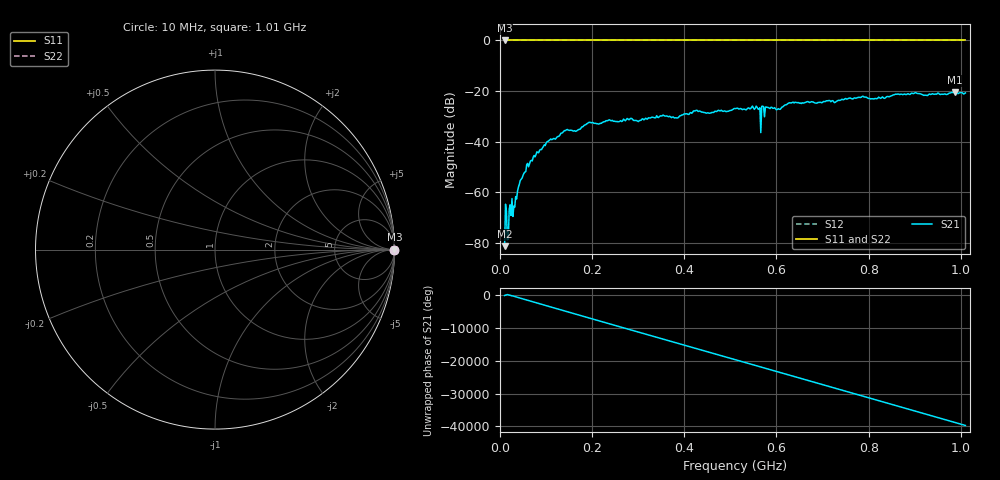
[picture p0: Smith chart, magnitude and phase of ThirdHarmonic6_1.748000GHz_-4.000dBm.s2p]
! 8/16/2025 9:04:45 PM
! C:\ANRITSUVNA\TEMP\TEMP.S2P
! CHANNEL.1
! TR.MEASUREMENT
! RAW.DATA
! RF.CORRECTION.OFF
! AVERAGING.OFF
! IF.BANDWIDTH: 5KHZ
! SWEEPTYPE:  FREQ.SWEEP(Linear)
! Reference Plane Port Info
! PORT:  PORT1  PORT2
! DISTANCE:  0  m  0  m
! TIME:  0  s  0  s
! PHASE.OFFSET:  0  deg.  0  deg.
! LOSS:  0  dB  0  dB
! REF.LOSS:  0  dB  0  dB
! REF.FREQ:  0  Hz  0  Hz
! Power Info
! POWER:  -20  dBm  -20  dBm
! EFF.POWER:  -20  dBm  -20  dBm
! SOURCE.ATTEN:  0  dB  0  dB
! TEST.ATTEN:  0  dB  0  dB
# GHZ S RI R 50.0
! FREQ.GHZ  S11RE  S11IM  S21RE  S21IM  S12RE  S12IM  S22RE  S22IM
!; PortSelection: Port_12
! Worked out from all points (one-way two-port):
!   501 points, 10 MHz to 1.01 GHz, reference 50 ohm
!   highest |S21| = -20.54 dB at 988 MHz (marker M1); lowest = -81.3 dB at 10 MHz (marker M2)
!   lowest |S11| = 0.0 dB at 10 MHz (marker M3)
!   |S11| at or under -10 dB: nowhere
!   |S22| runs from 0.0 to 0.0 dB; largest |S21 - S12| = 1.1
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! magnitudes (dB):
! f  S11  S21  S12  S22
! 10 MHz  0.0  -81.3  0.0  0.0
! 14 MHz  0.0  -67.6  0.0  0.0
! 16 MHz  0.0  -78.9  0.0  0.0
! 20 MHz  0.0  -66.7  0.0  0.0
! 24 MHz  0.0  -69.2  0.0  0.0
! 32 MHz  0.0  -65.9  0.0  0.0
! 46 MHz  0.0  -54.9  0.0  0.0
! 76 MHz  0.0  -46.0  0.0  0.0
! 142 MHz  0.0  -35.6  0.0  0.0
! 178 MHz  0.0  -34.1  0.0  0.0
! 196 MHz  0.0  -32.4  0.0  0.0
! 344 MHz  0.0  -30.5  0.0  0.0
! 510 MHz  0.0  -26.9  0.0  0.0
! 560 MHz  0.0  -27.1  0.0  0.0
! 562 MHz  0.0  -27.3  0.0  0.0
! 570 MHz  0.0  -26.0  0.0  0.0
! 572 MHz  0.0  -26.2  0.0  0.0
! 580 MHz  0.0  -26.5  0.0  0.0
! 678 MHz  0.0  -24.3  0.0  0.0
! 844 MHz  0.0  -22.3  0.0  0.0
! 988 MHz  0.0  -20.5  0.0  0.0
! 1.01 GHz  0.0  -20.7  0.0  0.0
